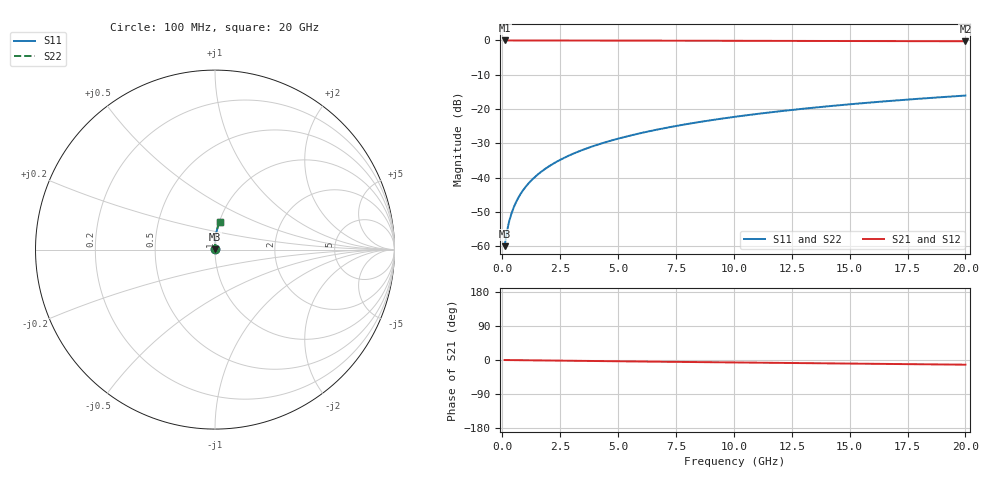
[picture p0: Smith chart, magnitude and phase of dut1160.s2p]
! Touchstone file exported from HFSS 2024.1.0
!  File:  C:/UserFiles/LocalFiles/RDL_TSV_Batchsim/temp_RDL_top_1160_1780048502.aedt
!  Generated:  05:57:10 PM May 29, 2026
!  Design:  RDL_top
!  Project:  temp_RDL_top_1160_1780048502
!  Setup:  Setup1
!  Solution:  Sweep
! Variables:
!  dtsv = 10.80580581um
!  hbump = 3um
!  htsv = 53.3um
!  ldown = 100um
!  lrdl = 125.52um
!  p = 40
!  p1 = 56.34um
!  rhole = 1um
!  t = 450um
!  tdown = 3.915915916um
!  trdl = 4.55um
!  wdown = 15.38538539um
!  wrdl = 19.38um
# GHz S MA R 50.000000
! Terminal data exported
! Port[1] = Box2_T1
! Port[2] = Box2_T2
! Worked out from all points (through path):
!   200 points, 100 MHz to 20 GHz, reference 50 ohm
!   highest |S21| = -0.01 dB at 100 MHz (marker M1); lowest = -0.2 dB at 20 GHz (marker M2)
!   group delay of S21, straight-line fit = 1.7 ps
!   lowest |S11| = -59.9 dB at 100 MHz (marker M3), VSWR 1.00, Z = 50.1 + j0.0764 ohm
!   |S11| at or under -10 dB: start of sweep to end of sweep
!   |S22| runs from -59.9 to -16.1 dB; largest |S21 - S12| = 5.1e-15
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0.1  0.00101 49.0  0.9993 -0.1  0.9993 -0.1  0.00101 49.0
! Gamma 0 0 0 0
! Port Impedance 50 0 50 0
0.2  0.001658 65.4  0.9993 -0.1  0.9993 -0.1  0.001658 65.4
0.3  0.002347 72.3  0.9993 -0.2  0.9993 -0.2  0.002347 72.3
0.4  0.003047 76.1  0.9992 -0.3  0.9992 -0.3  0.003047 76.1
0.5  0.003751 78.6  0.9992 -0.4  0.9992 -0.4  0.003751 78.6
0.7  0.005172 81.7  0.9991 -0.5  0.9991 -0.5  0.005172 81.7
0.8  0.005886 82.7  0.9991 -0.6  0.9991 -0.6  0.005886 82.7
1  0.007322 84.1  0.999 -0.7  0.999 -0.7  0.007322 84.1
1.2  0.008764 85.1  0.9989 -0.8  0.9989 -0.8  0.008764 85.1
1.4  0.01021 85.8  0.9988 -1.0  0.9988 -1.0  0.01021 85.8
1.7  0.01239 86.6  0.9986 -1.2  0.9986 -1.2  0.01239 86.6
2  0.01458 87.2  0.9984 -1.4  0.9984 -1.4  0.01458 87.2
2.7  0.01974 88.0  0.9978 -1.9  0.9978 -1.9  0.01974 88.0
3.5  0.0257 88.4  0.997 -2.4  0.997 -2.4  0.0257 88.4
4.2  0.03099 88.6  0.9961 -2.9  0.9961 -2.9  0.03099 88.6
5  0.03712 88.7  0.9951 -3.4  0.9951 -3.4  0.03712 88.7
6.8  0.05121 88.4  0.9926 -4.5  0.9926 -4.5  0.05121 88.4
8.3  0.0632 87.8  0.9904 -5.4  0.9904 -5.4  0.0632 87.8
10.1  0.07775 86.9  0.9878 -6.5  0.9878 -6.5  0.07775 86.9
13.4  0.1046 84.9  0.9831 -8.5  0.9831 -8.5  0.1046 84.9
16.7  0.1312 82.7  0.9783 -10.4  0.9783 -10.4  0.1312 82.7
20  0.1575 80.5  0.9731 -12.4  0.9731 -12.4  0.1575 80.5
